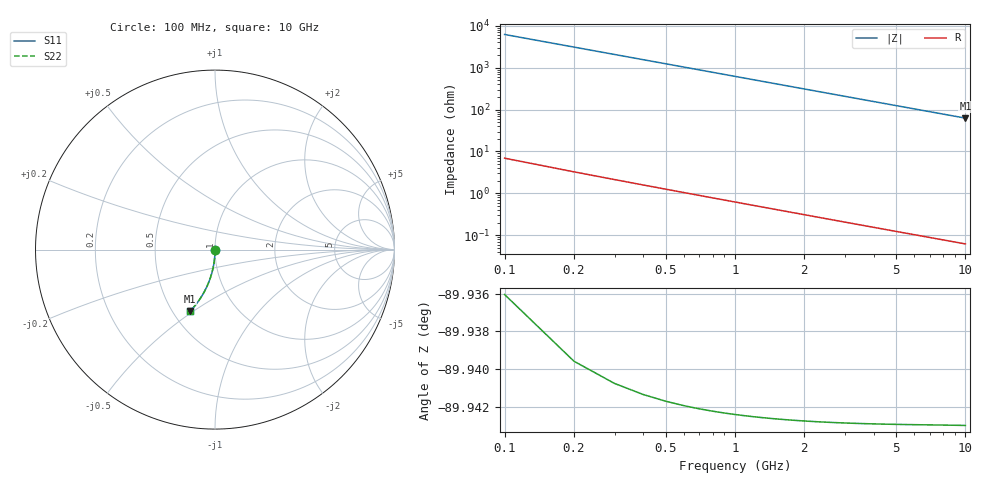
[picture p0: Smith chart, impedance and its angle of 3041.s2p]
# Hz S RI R 50.00
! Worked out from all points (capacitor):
!   100 points, 100 MHz to 10 GHz, reference 50 ohm
!   read as one part in shunt: C = 257 fF near 100 MHz
!   lowest |Z| = 62.6 ohm at 10 GHz (marker M1)
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1e8  -1.57e-05 -0.00401  1 -0.00405  1 -0.00405  -1.57e-05 -0.00401
2e8  -6.83e-05 -0.00801  0.9999 -0.00811  0.9999 -0.00811  -6.83e-05 -0.00801
3e8  -0.000153 -0.012  0.9998 -0.0122  0.9998 -0.0122  -0.000153 -0.012
4e8  -0.000271 -0.016  0.9997 -0.0162  0.9997 -0.0162  -0.000271 -0.016
5e8  -0.000421 -0.02  0.9996 -0.0203  0.9996 -0.0203  -0.000421 -0.02
6e8  -0.000603 -0.024  0.9994 -0.0243  0.9994 -0.0243  -0.000603 -0.024
7e8  -0.000818 -0.028  0.9992 -0.0283  0.9992 -0.0283  -0.000818 -0.028
8e8  -0.00106 -0.032  0.9989 -0.0324  0.9989 -0.0324  -0.00106 -0.032
9e8  -0.00134 -0.036  0.9986 -0.0364  0.9986 -0.0364  -0.00134 -0.036
1.1e9  -0.002 -0.044  0.998 -0.0445  0.998 -0.0445  -0.002 -0.044
1.4e9  -0.00322 -0.0559  0.9968 -0.0565  0.9968 -0.0565  -0.00322 -0.0559
1.8e9  -0.00529 -0.0717  0.9947 -0.0725  0.9947 -0.0725  -0.00529 -0.0717
2.1e9  -0.00717 -0.0834  0.9928 -0.0844  0.9928 -0.0844  -0.00717 -0.0834
2.5e9  -0.0101 -0.099  0.9899 -0.1002  0.9899 -0.1002  -0.0101 -0.099
2.9e9  -0.0135 -0.1144  0.9865 -0.1157  0.9865 -0.1157  -0.0135 -0.1144
3.4e9  -0.0185 -0.1333  0.9815 -0.135  0.9815 -0.135  -0.0185 -0.1333
4.2e9  -0.0278 -0.163  0.9722 -0.165  0.9722 -0.165  -0.0278 -0.163
5.1e9  -0.0404 -0.1952  0.9596 -0.1976  0.9596 -0.1976  -0.0404 -0.1952
5.9e9  -0.0532 -0.2226  0.9468 -0.2254  0.9468 -0.2254  -0.0532 -0.2226
6.7e9  -0.0675 -0.2487  0.9325 -0.252  0.9325 -0.252  -0.0675 -0.2487
8.4e9  -0.1018 -0.2998  0.8982 -0.3039  0.8982 -0.3039  -0.1018 -0.2998
1e10  -0.138 -0.342  0.862 -0.3469  0.862 -0.3469  -0.138 -0.342
